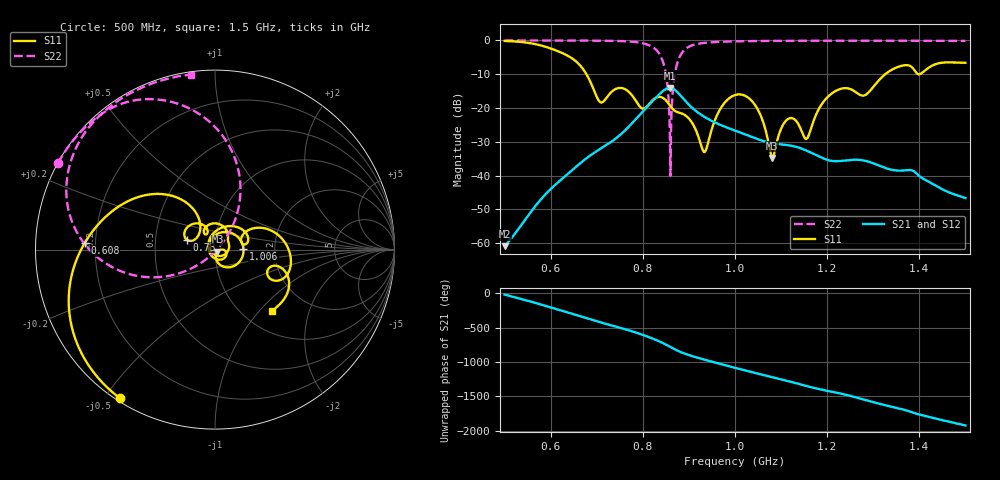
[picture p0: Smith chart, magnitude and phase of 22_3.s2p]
! TOUCHSTONE file generated by CST MICROWAVE STUDIO
! Date and time: Fri Oct  2 16:37:44 2020
! Project name: Scenario_1_Free_Space_out_of_line.cst
! Parameters = {Lambda=346.42; Step_1=17.321; dy1=-16.521; dx1=520; L_HA=400; MT=2.54; Rad_Dielectric=30; Rad_Lower=7.3; Rad_Upper=30; a_HA=580; a_WG=246; b_HA=500; b_WG=121; c_HA=0; c_WG=187; d_feed=85; h_feed=15; h_lower=18; h_upper=40}
! Header version: 2018
! Port assignment regex: !\s*Touchstone port\s*([0-9]+)\s*=\s*(CST MWS port|CST DS port)\s*([0-9]+|Zmin|Zmax)\s*\(\"(.*)\"\)(\s*mode\s*([0-9]+))?.*
! Touchstone port assignment:
! Touchstone port 1 = CST MWS port 1 ("")
! Touchstone port 2 = CST MWS port 2 ("")
# GHz S DB R 50
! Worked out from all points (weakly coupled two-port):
!   1003 points, 500 MHz to 1.5 GHz, reference 50 ohm
!   highest |S21| = -14.04 dB at 858 MHz (marker M1); lowest = -60.9 dB at 500 MHz (marker M2)
!   lowest |S11| = -34.7 dB at 1.081 GHz (marker M3), VSWR 1.04, Z = 51.4 - j1.23 ohm
!   |S11| at or under -10 dB: 677.6 MHz to 1.326 GHz (648.5 MHz wide, 64.7 % of centre); 1.397482 GHz to 1.400648 GHz (3.166 MHz wide, 0.226 % of centre)
!   |S22| runs from -40.1 to 0.0 dB; largest |S21 - S12| = 6.9e-05
!   S11 on the Smith chart (normalised r, x): 500 MHz: 0.01, -0.55; 608 MHz: 0.16, +0.02; 730 MHz: 0.72, +0.08; 1.006 GHz: 1.38, +0.01; 1.5 GHz: 1.34, -1.17
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0.5  -0.15 -122.7  -60.88 -17.3  -60.88 -17.3  -0.01 151.1
0.608  -2.77 177.1  -42.96 138.5  -42.96 138.5  -0.02 143.4
0.667  -7.90 130.8  -36.03 21.3  -36.03 21.3  -0.04 138.3
0.706  -18.08 135.1  -32.22 -58.3  -32.22 -58.3  -0.08 134.0
0.73  -15.50 160.5  -30.13 -104.4  -30.13 -104.4  -0.12 130.7
0.834  -16.71 95.0  -16.17 25.1  -16.17 25.1  -3.60 88.2
0.849  -17.59 64.7  -14.45 -23.1  -14.45 -23.1  -9.19 65.9
0.858  -19.11 49.5  -14.04 -55.4  -14.04 -55.4  -24.10 43.2
0.881  -21.45 24.6  -16.19 -132.8  -16.19 -132.8  -4.55 -171.2
0.934  -33.04 -149.4  -22.64 112.7  -22.64 112.7  -0.72 153.1
0.966  -20.77 79.0  -24.86 54.8  -24.86 54.8  -0.41 145.5
1  -16.16 11.7  -26.68 -5.5  -26.68 -5.5  -0.27 140.2
1.006  -15.99 0.7  -26.98 -16.0  -26.98 -16.1  -0.25 139.4
1.048  -20.08 -67.1  -29.14 -88.1  -29.14 -88.1  -0.17 134.5
1.081  -34.74 -40.7  -30.39 -140.9  -30.39 -140.9  -0.14 131.3
1.114  -23.34 -20.5  -30.98 163.5  -30.98 163.5  -0.12 128.4
1.154  -29.16 -155.6  -32.53 90.8  -32.53 90.8  -0.10 125.2
1.167  -25.21 130.5  -33.35 68.6  -33.35 68.6  -0.09 124.1
1.212  -15.50 50.5  -35.68 3.3  -35.68 3.3  -0.08 120.6
1.282  -16.20 20.7  -35.59 -113.8  -35.59 -113.8  -0.09 115.3
1.334  -9.19 15.9  -38.07 156.0  -38.07 156.0  -0.09 111.4
1.5  -6.61 -47.1  -46.62 -126.0  -46.75 -126.2  -0.14 97.8
